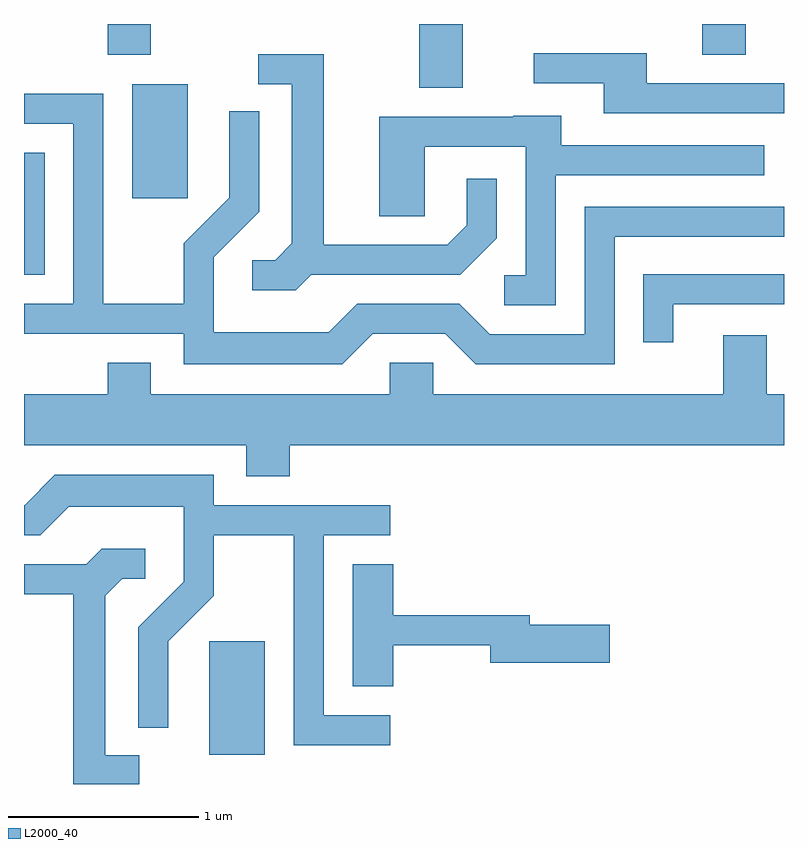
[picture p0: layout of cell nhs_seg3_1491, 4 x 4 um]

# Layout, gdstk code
import gdstk
lib = gdstk.Library(unit=1e-6, precision=1e-09)
def R(c, l, rs):  # rectangles x0, y0, x1, y1
    for r in rs: c.add(gdstk.rectangle(r[:2], r[2:], *l))
def P(c, l, *ps):  # polygons
    for p in ps: c.add(gdstk.Polygon(p, *l))
L2000_40 = (2000, 40)

nhs_seg3_1491 = lib.new_cell('nhs_seg3_1491')
R(nhs_seg3_1491, L2000_40, [(228.586,1242.046,228.879,1242.644), (227.611,1244.571,227.719,1245.214), (228.181,1244.976,228.474,1245.574), (229.691,1245.556,229.919,1245.892), (228.051,1245.731,228.279,1245.892), (231.181,1245.731,231.409,1245.892)])
P(nhs_seg3_1491, L2000_40, [(231.611,1245.579),(230.889,1245.579),(230.889,1245.739),(230.293,1245.739),(230.293,1245.581),(230.661,1245.581),(230.661,1245.421),(231.611,1245.421)],
  [(229.122,1244.571),(229.907,1244.571),(230.099,1244.764),(230.099,1245.078),(229.941,1245.078),(229.941,1244.832),(229.839,1244.729),(229.189,1244.729),(229.189,1245.734),(228.843,1245.734),(228.843,1245.576),(229.021,1245.576),(229.021,1244.737),(228.934,1244.649),(228.813,1244.649),(228.813,1244.491),(229.042,1244.491)],
  [(229.447,1244.261),(229.829,1244.261),(229.989,1244.101),(230.719,1244.101),(230.719,1244.771),(231.611,1244.771),(231.611,1244.929),(230.561,1244.929),(230.561,1244.259),(230.062,1244.259),(229.902,1244.419),(229.364,1244.419),(229.214,1244.269),(228.609,1244.269),(228.609,1244.664),(228.849,1244.904),(228.849,1245.433),(228.691,1245.433),(228.691,1244.977),(228.451,1244.737),(228.451,1244.419),(228.029,1244.419),(228.029,1245.524),(227.611,1245.524),(227.611,1245.366),(227.871,1245.366),(227.871,1244.419),(227.611,1244.419),(227.611,1244.261),(228.451,1244.261),(228.451,1244.101),(229.287,1244.101)],
  [(230.409,1245.096),(231.508,1245.096),(231.508,1245.254),(230.439,1245.254),(230.439,1245.409),(230.185,1245.409),(230.185,1245.404),(229.481,1245.404),(229.481,1244.881),(229.719,1244.881),(229.719,1245.246),(230.251,1245.246),(230.251,1244.569),(230.138,1244.569),(230.138,1244.411),(230.409,1244.411)],
  [(231.029,1244.416),(231.611,1244.416),(231.611,1244.574),(230.871,1244.574),(230.871,1244.218),(231.029,1244.218)],
  [(229.009,1243.676),(231.611,1243.676),(231.611,1243.944),(231.519,1243.944),(231.519,1244.254),(231.291,1244.254),(231.291,1243.944),(229.764,1243.944),(229.764,1244.109),(229.536,1244.109),(229.536,1243.944),(228.279,1243.944),(228.279,1244.109),(228.051,1244.109),(228.051,1243.944),(227.611,1243.944),(227.611,1243.676),(228.781,1243.676),(228.781,1243.511),(229.009,1243.511)],
  [(229.538,1242.254),(229.189,1242.254),(229.189,1243.201),(229.538,1243.201),(229.538,1243.359),(228.609,1243.359),(228.609,1243.519),(227.774,1243.519),(227.614,1243.359),(227.611,1243.359),(227.611,1243.201),(227.697,1243.201),(227.847,1243.351),(228.451,1243.351),(228.451,1242.957),(228.211,1242.717),(228.211,1242.188),(228.369,1242.188),(228.369,1242.644),(228.609,1242.884),(228.609,1243.201),(229.031,1243.201),(229.031,1242.096),(229.538,1242.096)],
  [(228.218,1242.044),(228.039,1242.044),(228.039,1242.884),(228.127,1242.971),(228.248,1242.971),(228.248,1243.129),(228.019,1243.129),(227.939,1243.049),(227.611,1243.049),(227.611,1242.891),(227.871,1242.891),(227.871,1241.892),(228.218,1241.892)],
  [(229.554,1242.621),(230.066,1242.621),(230.066,1242.531),(230.694,1242.531),(230.694,1242.729),(230.274,1242.729),(230.274,1242.779),(229.554,1242.779),(229.554,1243.049),(229.341,1243.049),(229.341,1242.406),(229.554,1242.406)])

lib.write_gds('nhs_seg3_1491.gds')
